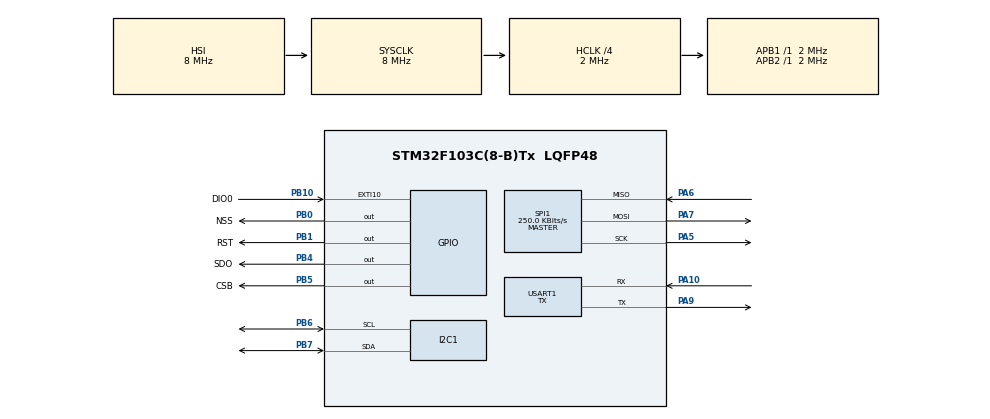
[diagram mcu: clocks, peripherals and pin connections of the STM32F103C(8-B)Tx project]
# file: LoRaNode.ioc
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I2C1.I2C_Mode=I2C_Standard
Mcu.Family=STM32F1
Mcu.Name=STM32F103C(8-B)Tx
Mcu.Package=LQFP48
NVIC.EXTI15_10_IRQn=true\:0\:0\:false\:false\:true\:true\:true\:true
NVIC.PriorityGroup=NVIC_PRIORITYGROUP_4
NVIC.TIM2_IRQn=true\:0\:0\:false\:false\:true\:true\:true\:true
PA10.Mode=Asynchronous
PA10.Signal=USART1_RX
PA13.Mode=Serial_Wire
PA13.Signal=SYS_JTMS-SWDIO
PA14.Mode=Serial_Wire
PA14.Signal=SYS_JTCK-SWCLK
PA5.Mode=Full_Duplex_Master
PA5.Signal=SPI1_SCK
PA6.Mode=Full_Duplex_Master
PA6.Signal=SPI1_MISO
PA7.Mode=Full_Duplex_Master
PA7.Signal=SPI1_MOSI
PA9.Mode=Asynchronous
PA9.Signal=USART1_TX
PB0.GPIO_Label=NSS
PB0.PinState=GPIO_PIN_SET
PB0.Signal=GPIO_Output
PB1.GPIO_Label=RST
PB1.PinState=GPIO_PIN_SET
PB1.Signal=GPIO_Output
PB10.GPIO_Label=DIO0
PB10.Signal=GPXTI10
PB4.GPIO_Label=SDO
PB4.Signal=GPIO_Output
PB5.GPIO_Label=CSB
PB5.PinState=GPIO_PIN_SET
PB5.Signal=GPIO_Output
PB6.Mode=I2C
PB6.Signal=I2C1_SCL
PB7.Mode=I2C
PB7.Signal=I2C1_SDA
ProjectManager.HeapSize=0x200
ProjectManager.StackSize=0x400
ProjectManager.TargetToolchain=MDK-ARM V5.32
RCC.AHBCLKDivider=RCC_SYSCLK_DIV4
RCC.AHBFreq_Value=2000000
RCC.APB1Freq_Value=2000000
RCC.APB1TimFreq_Value=2000000
RCC.APB2Freq_Value=2000000
RCC.APB2TimFreq_Value=2000000
RCC.HCLKFreq_Value=2000000
RCC.PLLMUL=RCC_PLL_MUL16
RCC.SYSCLKFreq_VALUE=8000000
RCC.USBFreq_Value=64000000
SPI1.BaudRatePrescaler=SPI_BAUDRATEPRESCALER_8
SPI1.CalculateBaudRate=250.0 KBits/s
SPI1.Direction=SPI_DIRECTION_2LINES
SPI1.Mode=SPI_MODE_MASTER
SPI1.VirtualType=VM_MASTER
TIM2.AutoReloadPreload=TIM_AUTORELOAD_PRELOAD_ENABLE
TIM2.Period=60000
TIM2.Prescaler=2000 - 1
TIM4.AutoReloadPreload=TIM_AUTORELOAD_PRELOAD_ENABLE
TIM4.Period=0xFFFF
TIM4.Prescaler=2 - 1
USART1.Mode=MODE_TX
USART1.VirtualMode=VM_ASYNC
VP_TIM2_VS_ClockSourceINT.Mode=Internal
VP_TIM4_VS_ClockSourceINT.Mode=Internal
board=custom

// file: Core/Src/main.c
/* USER CODE BEGIN Header */
/**
  ******************************************************************************
  * @file           : main.c
  * @brief          : Main program body
  ******************************************************************************
  * @attention
  *
  * Copyright (c) 2024 STMicroelectronics.
  * All rights reserved.
  *
  * This software is licensed under terms that can be found in the LICENSE file
  * in the root directory of this software component.
  * If no LICENSE file comes with this software, it is provided AS-IS.
  *
  ******************************************************************************
  */
/* USER CODE END Header */
#include "main.h"
#include "i2c.h"
#include "spi.h"
#include "tim.h"
#include "usart.h"
#include "gpio.h"

/* USER CODE BEGIN Includes */
#include "LoRa.h"
#include "BME280_STM32.h"
#include "FLASH_PAGE_F1.h"
#include "loramac.h"
#include "secrets.h"
#include "crypto_auth.h"
#include "crypto_aead.h"
#include <string.h>
#include <stdio.h>
#include <time.h>
//#include "secrets.h"
//#include "cc20_p1305.h"
/* USER CODE END Includes */

void SystemClock_Config(void);

/* USER CODE BEGIN 0 */
//#define TEST_PKT 1
#define UART_DBG 1
#define UART_DBG_TIME 1

#define TIME_SLEEP_MAX 1
#define RX_BUFFER_SIZE 255

#define LE_BYTES_TO_UINT32(x) ((*(x + 3)) << 24) | ((*(x + 2)) << 16) | ((*(x + 1)) << 8) | ((*(x)))
#define LE_BYTES_TO_UINT16(x) ((*(x + 1)) << 8) | ((*(x)))

#define APPNONCE_STORAGE_LOCATION 0x0800C000

struct program_state {
	/* State in enum PROG_FSM */
	uint8_t fsm;
	/* Server joined flag */
	uint8_t joined;
};

enum PROG_FSM {INIT, MCU_SLEEP, LORA_TX, LORA_TX_JOIN_REQ_STARTED, LORA_RX, LORA_GPIO_INT, LORA_TIMER_INT, LORA_RX_PKT_RDY};

struct program_state prog = {0};

static LoRa myLoRa;
static uint16_t LoRa_stat = 0;

// ABP
static uint32_t dev_addr = 0; // DEV_ADDR1
static uint8_t nwkskey[16] = {0}; // NWKSKEY1
static uint8_t appskey[16] = {0}; // APPSKEY1

// OTAA
static uint8_t appeui[8] = {APP_EUI};
static uint8_t deveui[8] = {DEV_EUI};
static uint8_t appkey[16] = {APP_KEY};
static uint8_t devnonce[2] = {0};
// need to store fetch this in FLASH
static uint8_t appnonce[3] = {0, 0, 0};

static uint32_t start, end;

static struct loramac_phys_payload *loramac_payload;
static struct loramac_phys_payload_join_request *loramac_jr;
#ifdef TEST_PKT
static struct loramac_phys_payload _loramac_payload_test = {0};
static struct loramac_phys_payload *loramac_payload_test;
#endif

static volatile uint8_t lorawan_rx_buffer[RX_BUFFER_SIZE];
static volatile uint8_t lorawan_rx_buf_size;
static volatile uint8_t lorawan_is_tx;
static struct loramac_phys_payload lorawan_rx_phys;

static uint8_t myData[5] = {0};
float Temperature = 0, Pressure = 0, Humidity = 0;

void log_debug(const char *string)
{
#ifdef UART_DBG
	HAL_UART_Transmit(&huart1, (const uint8_t *)string, strlen(string), 5000);
	HAL_Delay(1);
#else
	(void)string;
#endif
}

void log_debug_array(const char *string, uint8_t *array, uint8_t size)
{
#ifdef UART_DBG
	char buffer[512] ={0};
  int offset = 0;
	offset += snprintf(buffer + offset, 512 - offset, "%s: ", string);
  for (uint8_t i = 0; i < size; i++) {
    offset += snprintf(buffer + offset, 512 - offset, "%.2x ", array[i]);
  }
	snprintf(buffer + offset, 512 - offset, "\r\n");
	log_debug(buffer);
#else
	(void)string;
	(void)array;
	(void)size;
#endif
}

void TIM4_EnablePeripheral(void)
{
	RCC->APB1ENR |= RCC_APB1ENR_TIM4EN;
}

void TIM2_EnablePeripheral_IT(void)
{
	RCC->APB1ENR |= RCC_APB1ENR_TIM2EN;

	TIM2->CR1 |= TIM_CR1_URS;

	TIM2->DIER |= TIM_DIER_UIE;
}

void TIM2_Start_IT(void)
{
	// Enable counter
	TIM2->CR1 |= TIM_CR1_CEN;
}

void TIM2_Disable_IT(void)
{
	// Disable counter
	TIM2->CR1 &= ~(TIM_CR1_CEN);
}

void TIM4_Start(void)
{
	HAL_TIM_Base_Start(&htim4);
}

void TIM4_Disable(void)
{
	HAL_TIM_Base_Stop(&htim4);
	// Optionally disable the TIM4 clock entirely
	__HAL_RCC_TIM4_CLK_DISABLE();
}

void delay_us(uint16_t us) {
    // Ensure TIM4 clock is enabled
    __HAL_RCC_TIM4_CLK_ENABLE();
    TIM4_Start();

    // Reset the counter
    __HAL_TIM_SET_COUNTER(&htim4, 0);

    // Wait until the counter reaches the desired value
    while (__HAL_TIM_GET_COUNTER(&htim4) < us) {
        // Do nothing, just wait
    }

    // Stop the timer to save power
    TIM4_Disable();
}

void reverse_bytes(uint8_t *bytes, size_t size)
{
    if (size <= 1) {
        return;
    }
    for (uint8_t i = 0, j = size - 1; i < size / 2; i++, j--) {
        uint8_t tmp = bytes[j];
        bytes[j] = bytes[i];
        bytes[i] = tmp;
    }
}

int32_t lorawan_transmit(LoRa *lora, uint8_t *lora_package, uint8_t package_size, uint32_t freq)
{
	LoRa_gotoMode(lora, STNBY_MODE);
	LoRa_setFrequency(lora, freq); // 920400000
	if (LoRa_transmit(lora, lora_package, package_size, 1000)) {
		// 9 LORAWAN protocol excepts FOPTS + MAC + FRM_PAYLOAD
		return 0;
	}
	return -1;
}

static uint8_t auth_tag[16] = {0};

static struct loramac_phys_payload_join_accept ja_encrypt_out = {0};
static struct join_accept_xskey_input ja_keys_in = {0};
static uint8_t nonce[16] = {0};
static uint64_t ja_size_out = 0;

int32_t process_lorawan_join_accept(uint8_t *nwkskey_out, uint8_t *appskey_out, uint32_t *dev_addr_out, uint8_t *in)
{
	uint8_t i;
#ifndef UART_DBG_TIME
	log_debug_array("EncJoinAcc", in, sizeof(struct loramac_phys_payload_join_accept));
#endif
	// Fetch AppNonce from Flash
	// already fetch when init
	uint32_t appnonce_uint = (appnonce[2] << 16) | (appnonce[1] << 8) | appnonce[0];
	appnonce_uint++;

	appnonce[0] = appnonce_uint & 0xFF;
	appnonce[1] = (appnonce_uint >> 8) & 0xFF;
	appnonce[2] = (appnonce_uint >> 16) & 0xFF;

	// JoinAccept Noince = MHDR + AppNonce + Padding
	nonce[0] = in[0];
	nonce[1] = appnonce[0];
	nonce[2] = appnonce[1];
	nonce[3] = appnonce[2];
	// Don't count MHDR in
	uint64_t inlen = sizeof(struct loramac_phys_payload_join_accept) - 1;
	// Decrypt
	int32_t retval = crypto_aead_decrypt(ja_encrypt_out.app_nonce, &ja_size_out,
																			 NULL, &in[1],
	                                     inlen, &in[0],
																			 1, nonce,
																			 appkey);
	if (retval){
		return retval;
	}

	ja_encrypt_out.m_hdr = in[0]; // MHDR for debugging only, this field is unused
#ifndef UART_DBG_TIME
	log_debug_array("DecJoinAcc", &ja_encrypt_out.m_hdr, sizeof(struct loramac_phys_payload_join_accept) - 16);
#endif
	// get appskey
	memcpy(ja_keys_in.app_nonce, ja_encrypt_out.app_nonce, 3);
	memcpy(ja_keys_in.net_id, ja_encrypt_out.net_id, 3);
	//little endian
	ja_keys_in.dev_nonce[0] = devnonce[1];
	ja_keys_in.dev_nonce[1] = devnonce[0];
	ja_keys_in.byte1 = 0x02;
	crypto_auth(appskey_out, &ja_keys_in.byte1, sizeof(struct join_accept_xskey_input), appkey);
#ifndef UART_DBG_TIME
	log_debug_array("AppSKey", appskey_out, 16);
#endif
	// get devaddr
	*dev_addr_out = LE_BYTES_TO_UINT32(ja_encrypt_out.dev_addr);

	// Write back
	Flash_Write_Data(APPNONCE_STORAGE_LOCATION, &appnonce_uint, 1);

	return 0;
}

int32_t encrypt_lorawan(struct loramac_phys_payload *loramac_payload,
												uint8_t *data, uint8_t data_size,
												uint16_t loramac_f_cnt, uint8_t f_port,
												uint8_t f_ctrl, uint8_t *lora_package,
												uint8_t *lora_package_size)
{
	if (f_ctrl != 0) {
		// Currently we don't support FOpts field so FCtrl must be 0
		return -1;
	}

	loramac_fill_fhdr(loramac_payload, dev_addr, f_ctrl, loramac_f_cnt, 0);
	loramac_fill_mac_payload(loramac_payload, f_port, data);
	loramac_fill_phys_payload(loramac_payload, LORAMAC_PHYS_PAYLOAD_MHDR_UNCONFIRM_DATA_UP, 0);

	// fully constructed LoRaWAN package: header + frm_payload + MIC (tag)
	return loramac_enc_aead(loramac_payload, lora_package, lora_package_size, data_size, appskey);
}

int32_t decrypt_lorawan(uint8_t *lora_raw_data, uint8_t size, struct loramac_phys_payload *payload, uint8_t *out_frm_payload_size)
{
	static uint8_t out_frm_payload[255] = {0};

	uint8_t frm_payload_size = size - (1 + 4 + 1 + 2 + 1 + 16); /* [MHDR + FHDR[DevAddr + ..] + FPORT + MIC] */

	int res = loramac_dec_aead(payload, out_frm_payload, out_frm_payload_size, lora_raw_data, size, appskey);
	// Decryption error
	if (res){
		return res;
	}
	// Size expectation did not meet
	if (frm_payload_size != *out_frm_payload_size){
		return -1;
	}
	// no support for FOpts
	if (payload->mac_payload.f_hdr.f_ctrl & 0xF) {
		return -2;
	}
	loramac_fill_mac_payload(payload, payload->mac_payload.f_port, out_frm_payload);
	return 0;
}

int32_t enable_peripherals_clock(void)
{
	__HAL_RCC_SPI1_CLK_ENABLE();
	__HAL_RCC_GPIOC_CLK_ENABLE();
  __HAL_RCC_GPIOA_CLK_ENABLE();
	return 0;
}

int32_t disable_peripherals_clock(void)
{
	__HAL_RCC_SPI1_CLK_DISABLE();
	__HAL_RCC_GPIOC_CLK_DISABLE();
  __HAL_RCC_GPIOA_CLK_DISABLE();
	TIM4_Disable();
	return 0;
}

// Sensor output is float Temperature, Humidity and Pressure. It's declared as global variables
void read_sensor()
{
	char buffer[128] = {0};
	BME280_WakeUP();
	BME280_Measure();
	myData[0] = (uint8_t)Humidity;
	myData[1] = ((uint8_t)(Humidity * 10)) % 10;
	myData[2] = (uint8_t)Temperature;
	myData[3] = ((uint8_t)(Temperature * 10)) % 10;
	myData[4] = myData[0] + myData[1] + myData[2] + myData[3];
#ifdef UART_DBG
	#ifndef UART_DBG_TIME
	snprintf(buffer, sizeof(buffer), "[read_sensor] T: %.2f - H: %.2f\n\r", Temperature, Humidity);
	log_debug(buffer);
	#endif
#endif
}

/* USER CODE END 0 */

int main(void)
{

  /* USER CODE BEGIN 1 */
	prog.fsm = INIT;
	prog.joined = 0;
  /* USER CODE END 1 */

  /* MCU Configuration--------------------------------------------------------*/

  /* Reset of all peripherals, Initializes the Flash interface and the Systick. */
  HAL_Init();

  /* Configure the system clock */
  SystemClock_Config();

  /* Initialize all configured peripherals */
  MX_GPIO_Init();
  MX_SPI1_Init();
  MX_TIM4_Init();
  MX_TIM2_Init();
  MX_I2C1_Init();
  MX_USART1_UART_Init();
  /* USER CODE BEGIN 2 */
	TIM4_EnablePeripheral();
	TIM2_EnablePeripheral_IT();

  /*Configure GPIO SDO low*/
  HAL_GPIO_WritePin(SDO_GPIO_Port, SDO_Pin, GPIO_PIN_RESET);
	HAL_GPIO_WritePin(CSB_GPIO_Port, CSB_Pin, GPIO_PIN_SET);

	myLoRa = newLoRa();

	myLoRa.CS_port         = NSS_GPIO_Port;
	myLoRa.CS_pin          = NSS_Pin;
	myLoRa.reset_port      = RST_GPIO_Port;
	myLoRa.reset_pin       = RST_Pin;
	myLoRa.DIO0_port       = DIO0_GPIO_Port;
	myLoRa.DIO0_pin        = DIO0_Pin;
	myLoRa.hSPIx           = &hspi1;

	HAL_Delay(5000);

	// Read join-accept appnonce
	uint32_t dataRead = 0;
	Flash_Read_Data(APPNONCE_STORAGE_LOCATION, &dataRead, 1);
	appnonce[0] = dataRead & 0xFF;
	appnonce[1] = (dataRead >> 8) & 0xFF;
	appnonce[2] = (dataRead >> 16) & 0xFF;

	if (LoRa_init(&myLoRa) == LORA_OK) {
		LoRa_stat = 1;
		LoRa_setSyncWord(&myLoRa, 0x12);
	} else {
		//log_debug("[main] FAILED: config LoRa\n\r");
	}

	while (BME280_Config(OSRS_1, OSRS_1, OSRS_1, MODE_FORCED, T_SB_0p5, IIR_OFF)) {
		LoRa_stat = 0;
		//log_debug("[main] FAILED: config BME280\n\r");
		HAL_Delay(1000);
	}

	LoRa_startReceiving(&myLoRa);

	uint8_t time_sleep = 5;

	loramac_payload = loramac_init();
	uint16_t loramac_f_cnt = 0;
	uint8_t lorawan_package[30] = {0};
	uint8_t lorawan_package_length = 0;
	uint8_t lorawan_decrypted_out_size = 0;
	uint8_t data_size;

	devnonce[0] = LoRa_getRSSI(&myLoRa);
	loramac_pack_join_request(&loramac_jr, appeui, deveui, devnonce, appkey);
	log_debug_array("TxJoinReq", &loramac_jr->m_hdr, sizeof(struct loramac_phys_payload_join_request));

#ifdef TEST_PKT
	loramac_payload_test = &_loramac_payload_test;
	loramac_fill_mac_payload(loramac_payload_test, 100, NULL);
	loramac_fill_phys_payload(loramac_payload_test, LORAMAC_PHYS_PAYLOAD_MHDR_UNCONFIRM_DATA_UP, 0);
#endif

  /* USER CODE END 2 */

  /* Infinite loop */
  /* USER CODE BEGIN WHILE */

	//log_debug("[main] Done system cfg\n\r");
  while (1)
  {

#ifdef UART_DBG_TIME
		log_debug("[main] Measure execution time\r\n");
		__HAL_RCC_TIM4_CLK_ENABLE();
		TIM4_Start();

		// Reset the counter
		__HAL_TIM_SET_COUNTER(&htim4, 0);
		start = __HAL_TIM_GET_COUNTER(&htim4);
#endif

		if (time_sleep >= TIME_SLEEP_MAX) {
			time_sleep = 0;
			// If LoRa received packet, process it
			if (prog.fsm == LORA_RX_PKT_RDY) {
				#ifndef UART_DBG_TIME
				log_debug("[main] Received downlink msg\n\r");
				#endif
				// Check join-accept
				if (!prog.joined) {
					uint8_t m_hdr = lorawan_rx_buffer[0];
					if (m_hdr == LORAMAC_PHYS_PAYLOAD_JOIN_ACCEPT) {
						// Encrypt the payload to get DevAddr (assigned by Network server), AppsKey and NwKsKey
						if (process_lorawan_join_accept(nwkskey, appskey, &dev_addr, (uint8_t *)lorawan_rx_buffer) == 0) {
							#ifndef UART_DBG_TIME
							log_debug("[main] Valid join-accept\n\r");
							#endif
							prog.joined = 1;
						} else {
							//log_debug("[main] Invalid join-accept\n\r");
						}
					}
				} else {
					int32_t ret = decrypt_lorawan((uint8_t *)lorawan_rx_buffer, lorawan_rx_buf_size, &lorawan_rx_phys, &lorawan_decrypted_out_size);
					if (!ret) {
						#ifndef UART_DBG_TIME
						log_debug("[main] Valid downlink msg\n\r");
						#endif
						// Toggle device, currently frm_payload is unused
						// frm_payload is in lorawan_rx_phys
						if (lorawan_decrypted_out_size == 3) {
							LoRa_stat ^= 0x1;
						}
					} else {
						//log_debug("[main] Invalid downlink message");
					}
				}
			}
			// If LoRa is OK then proceed to next step
			if (LoRa_stat) {
				// Perform join-request at startup
				if (!prog.joined) {
					prog.fsm = LORA_TX_JOIN_REQ_STARTED;
					#ifndef UART_DBG_TIME
					log_debug("[main] Send join-request\n\r");
					#endif
					// Transmit join-request message
					LoRa_transmit(&myLoRa, (uint8_t *)loramac_jr, sizeof(struct loramac_phys_payload_join_request), 1000);
					// Now wait for downlink join-accept message
				} else if (prog.joined && prog.fsm != LORA_RX_PKT_RDY) {
					// Perform sensor measurement
					read_sensor();
					prog.fsm = LORA_TX;
					data_size = sizeof(myData);
#ifdef TEST_PKT
					// Ensure TIM4 clock is enabled
					__HAL_RCC_TIM4_CLK_ENABLE();
					TIM4_Start();

					// Reset the counter
					__HAL_TIM_SET_COUNTER(&htim4, 0);
					start = __HAL_TIM_GET_COUNTER(&htim4);
#endif
					// Encrypt and package the LoRaWAN packet
					if (encrypt_lorawan(loramac_payload, myData, data_size, loramac_f_cnt, 1, 0, lorawan_package, &lorawan_package_length)) {
						//log_debug("[main] FAILED: Encrypt LoRa message\n\r");
						goto exit_tx;
					}
#ifdef TEST_PKT
					// Get the timer counter
					end = __HAL_TIM_GET_COUNTER(&htim4);
					// End time
					TIM4_Disable();
					uint32_t clk_elapsed = end - start;
					// Sanity check
					if (end >= start) {
						uint8_t data_test[5] = {0};
					  uint8_t data_size_test = sizeof(data_test);

						memcpy(data_test, (uint8_t *)&clk_elapsed, 3);
						data_test[3] = data_size;
						// Encrypt the time elapsed
						encrypt_lorawan(loramac_payload_test, data_test, data_size_test, loramac_f_cnt, 100, 0, lorawan_package, &lorawan_package_length);
						// Transmit it
						if (lorawan_transmit(&myLoRa, lorawan_package, lorawan_package_length, 920200000) == 0) {
							loramac_f_cnt += 1;
						}
					}
#else
					// Transmit using LoRa transceiver module
					#ifndef UART_DBG_TIME
					log_debug("[main] Send LoRa uplink\n\r");
					log_debug_array("EncTxPacket", lorawan_package, lorawan_package_length);
					#endif
					if (lorawan_transmit(&myLoRa, lorawan_package, lorawan_package_length, 920200000) == 0) {
						loramac_f_cnt += 1;
					}
#endif
				}
exit_tx:
				prog.fsm = LORA_RX;
				LoRa_gotoMode(&myLoRa, STNBY_MODE);
				LoRa_setFrequency(&myLoRa, 921400000);
				LoRa_startReceiving(&myLoRa);

#ifdef UART_DBG_TIME
				// Get the timer counter
				end = __HAL_TIM_GET_COUNTER(&htim4);
				// End time
				TIM4_Disable();
				log_debug_array("TimeElapsedLittleEndian", (uint8_t *)&end, 4);
				log_debug("[main] Open receive window\n\r");
#endif
				// RX1 RECEIVE_DELAY1
				HAL_Delay(4000);
			}
		}
		// Sleep if didn't receive any downlink
		if (prog.fsm != LORA_RX_PKT_RDY) {
			LoRa_gotoMode(&myLoRa, SLEEP_MODE);
			log_debug("[main] Sleep mode\n\r");
			/* Start timer interrupt */
			TIM2_Start_IT();
			/* Suspend SYSTICK to not wake up from sleep */
			HAL_SuspendTick();
			prog.fsm = MCU_SLEEP;
			/* Enter sleep mode, will be wake up by timer*/
			HAL_PWR_EnterSLEEPMode(PWR_MAINREGULATOR_ON, PWR_SLEEPENTRY_WFI);
			/* Check if wake from GPIO_EXTI */
			while (prog.fsm == LORA_GPIO_INT) {
				/* Sleep again */
				HAL_PWR_EnterSLEEPMode(PWR_MAINREGULATOR_ON, PWR_SLEEPENTRY_WFI);
			}
			/* Start SYSTICK again */
			HAL_ResumeTick();
			/* Enable peripherals clocks */
			/* Disable timer interrupt to process other things */
			TIM2_Disable_IT();
			//log_debug("[main] Wakeup\n\r");
		}
		time_sleep++;
    /* USER CODE END WHILE */

  }
}

void SystemClock_Config(void)
{
  RCC_OscInitTypeDef RCC_OscInitStruct = {0};
  RCC_ClkInitTypeDef RCC_ClkInitStruct = {0};

  /** Initializes the RCC Oscillators according to the specified parameters
  * in the RCC_OscInitTypeDef structure.
  */
  RCC_OscInitStruct.OscillatorType = RCC_OSCILLATORTYPE_HSI;
  RCC_OscInitStruct.HSIState = RCC_HSI_ON;
  RCC_OscInitStruct.HSICalibrationValue = RCC_HSICALIBRATION_DEFAULT;
  RCC_OscInitStruct.PLL.PLLState = RCC_PLL_NONE;
  if (HAL_RCC_OscConfig(&RCC_OscInitStruct) != HAL_OK)
  {
    Error_Handler();
  }

  /** Initializes the CPU, AHB and APB buses clocks
  */
  RCC_ClkInitStruct.ClockType = RCC_CLOCKTYPE_HCLK|RCC_CLOCKTYPE_SYSCLK
                              |RCC_CLOCKTYPE_PCLK1|RCC_CLOCKTYPE_PCLK2;
  RCC_ClkInitStruct.SYSCLKSource = RCC_SYSCLKSOURCE_HSI;
  RCC_ClkInitStruct.AHBCLKDivider = RCC_SYSCLK_DIV4;
  RCC_ClkInitStruct.APB1CLKDivider = RCC_HCLK_DIV1;
  RCC_ClkInitStruct.APB2CLKDivider = RCC_HCLK_DIV1;

  if (HAL_RCC_ClockConfig(&RCC_ClkInitStruct, FLASH_LATENCY_0) != HAL_OK)
  {
    Error_Handler();
  }
}

/* USER CODE BEGIN 4 */
void HAL_TIM_PeriodElapsedCallback(TIM_HandleTypeDef *htim)
{
	if (htim->Instance == TIM2) {
		// Unused
	}
	prog.fsm = LORA_TIMER_INT;
}

void HAL_GPIO_EXTI_Callback(uint16_t GPIO_Pin)
{
	if (prog.fsm == MCU_SLEEP || prog.fsm == LORA_RX) {
		if (GPIO_Pin == DIO0_Pin) {
			lorawan_rx_buf_size = LoRa_receive(&myLoRa, (uint8_t *)lorawan_rx_buffer, RX_BUFFER_SIZE);
			prog.fsm = LORA_RX_PKT_RDY;
		}
	}
	/* This prevents overwriting state when TIMER interrupt is served first then GPIO later */
	if (prog.fsm != LORA_TIMER_INT && prog.fsm != LORA_RX_PKT_RDY) {
		prog.fsm = LORA_GPIO_INT;
	}
	lorawan_is_tx = 0;
}
/* USER CODE END 4 */

void Error_Handler(void)
{
  /* USER CODE BEGIN Error_Handler_Debug */
  /* User can add his own implementation to report the HAL error return state */
  __disable_irq();
	//log_debug("[main] ERROR HANDLER");
  while (1)
  {
  }
  /* USER CODE END Error_Handler_Debug */
}
